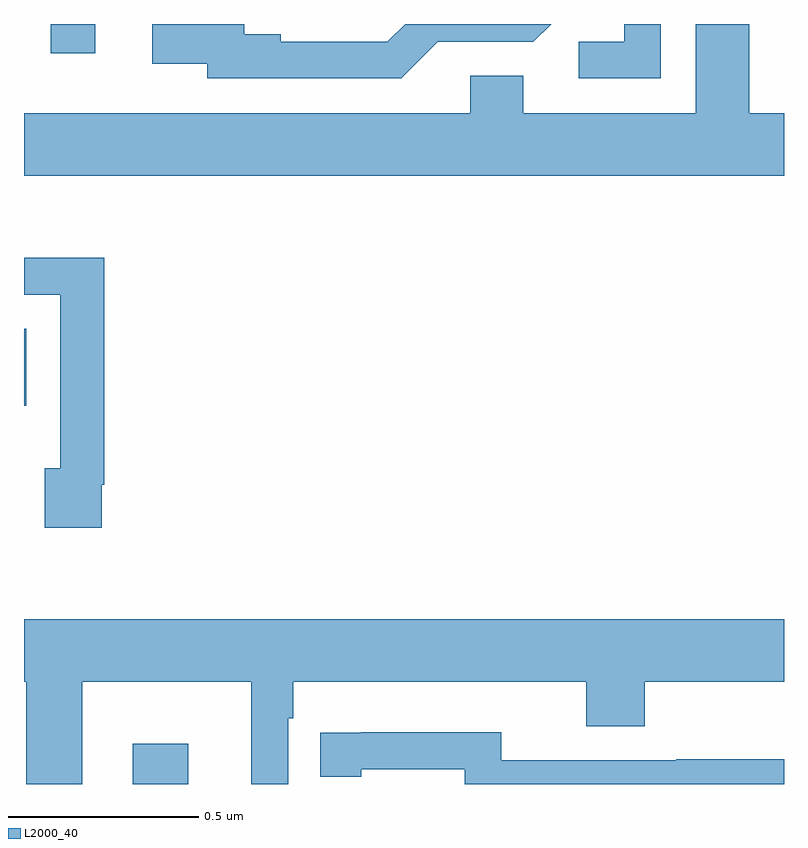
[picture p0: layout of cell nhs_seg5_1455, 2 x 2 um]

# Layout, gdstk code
import gdstk
lib = gdstk.Library(unit=1e-6, precision=1e-09)
def R(c, l, rs):  # rectangles x0, y0, x1, y1
    for r in rs: c.add(gdstk.rectangle(r[:2], r[2:], *l))
def P(c, l, *ps):  # polygons
    for p in ps: c.add(gdstk.Polygon(p, *l))
L2000_40 = (2000, 40)

nhs_seg5_1455 = lib.new_cell('nhs_seg5_1455')
R(nhs_seg5_1455, L2000_40, [(130.286,881.799,130.432,881.905), (130,882.794,130.006,882.997), (130.07,883.722,130.188,883.799)])
P(nhs_seg5_1455, L2000_40, [(131.676,883.799),(131.58,883.799),(131.58,883.752),(131.46,883.752),(131.46,883.656),(131.676,883.656)],
  [(132,883.564),(131.908,883.564),(131.908,883.799),(131.768,883.799),(131.768,883.564),(131.314,883.564),(131.314,883.663),(131.174,883.663),(131.174,883.564),(130,883.564),(130,883.4),(132,883.4)],
  [(131.089,883.752),(131.34,883.752),(131.387,883.799),(131.003,883.799),(130.956,883.752),(130.675,883.752),(130.675,883.772),(130.579,883.772),(130.579,883.799),(130.338,883.799),(130.338,883.694),(130.482,883.694),(130.482,883.656),(130.993,883.656)],
  [(130.204,882.586),(130.211,882.586),(130.211,883.184),(130,883.184),(130,883.086),(130.095,883.086),(130.095,882.63),(130.055,882.63),(130.055,882.474),(130.204,882.474)],
  [(130.153,882.068),(130.598,882.068),(130.598,881.799),(130.695,881.799),(130.695,881.972),(130.709,881.972),(130.709,882.068),(131.48,882.068),(131.48,881.951),(131.633,881.951),(131.633,882.068),(132,882.068),(132,882.232),(130,882.232),(130,882.068),(130.006,882.068),(130.006,881.799),(130.153,881.799)],
  [(132,881.864),(131.716,881.864),(131.716,881.862),(131.256,881.862),(131.256,881.935),(130.888,881.935),(130.888,881.934),(130.78,881.934),(130.78,881.818),(130.888,881.818),(130.888,881.838),(131.16,881.838),(131.16,881.799),(132,881.799)])

lib.write_gds('nhs_seg5_1455.gds')
